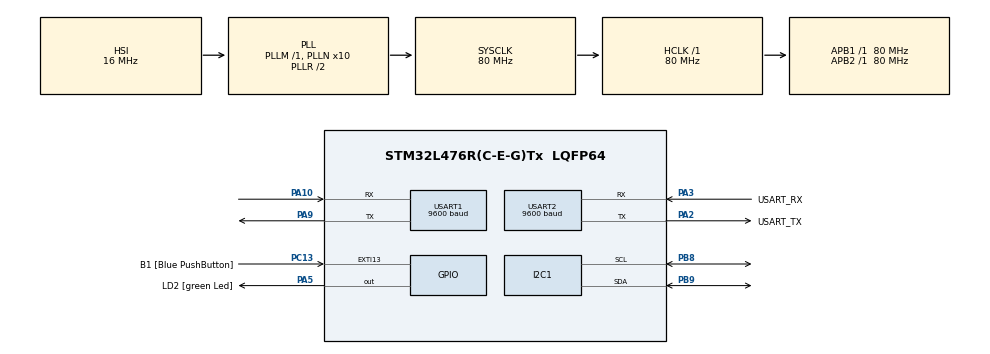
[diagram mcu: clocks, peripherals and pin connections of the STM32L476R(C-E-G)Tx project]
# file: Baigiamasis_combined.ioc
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I2C1.Timing=0x10909CEC
Mcu.Family=STM32L4
Mcu.Name=STM32L476R(C-E-G)Tx
Mcu.Package=LQFP64
NVIC.PriorityGroup=NVIC_PRIORITYGROUP_4
PA10.Mode=Asynchronous
PA10.Signal=USART1_RX
PA13\ (JTMS-SWDIO).GPIO_Label=TMS
PA13\ (JTMS-SWDIO).Mode=Serial_Wire
PA13\ (JTMS-SWDIO).Signal=SYS_JTMS-SWDIO
PA14\ (JTCK-SWCLK).GPIO_Label=TCK
PA14\ (JTCK-SWCLK).Mode=Serial_Wire
PA14\ (JTCK-SWCLK).Signal=SYS_JTCK-SWCLK
PA2.GPIO_Label=USART_TX
PA2.GPIO_Mode=GPIO_MODE_AF_PP
PA2.GPIO_PuPd=GPIO_NOPULL
PA2.GPIO_Speed=GPIO_SPEED_FREQ_VERY_HIGH
PA2.Mode=Asynchronous
PA2.Signal=USART2_TX
PA3.GPIO_Label=USART_RX
PA3.GPIO_Mode=GPIO_MODE_AF_PP
PA3.GPIO_PuPd=GPIO_NOPULL
PA3.GPIO_Speed=GPIO_SPEED_FREQ_VERY_HIGH
PA3.Mode=Asynchronous
PA3.Signal=USART2_RX
PA5.GPIO_Label=LD2 [green Led]
PA5.GPIO_ModeDefaultOutputPP=GPIO_MODE_OUTPUT_PP
PA5.GPIO_PuPd=GPIO_NOPULL
PA5.GPIO_Speed=GPIO_SPEED_FREQ_LOW
PA5.Signal=GPIO_Output
PA9.Mode=Asynchronous
PA9.Signal=USART1_TX
PB3\ (JTDO-TRACESWO).GPIO_Label=SWO
PB3\ (JTDO-TRACESWO).Signal=SYS_JTDO-SWO
PB8.Mode=I2C
PB8.Signal=I2C1_SCL
PB9.Mode=I2C
PB9.Signal=I2C1_SDA
PC13.GPIO_Label=B1 [Blue PushButton]
PC13.GPIO_ModeDefaultEXTI=GPIO_MODE_IT_FALLING
PC13.GPIO_PuPd=GPIO_NOPULL
PC13.Signal=GPXTI13
PC14-OSC32_IN\ (PC14).Mode=LSE-External-Oscillator
PC14-OSC32_IN\ (PC14).Signal=RCC_OSC32_IN
PC15-OSC32_OUT\ (PC15).Mode=LSE-External-Oscillator
PC15-OSC32_OUT\ (PC15).Signal=RCC_OSC32_OUT
PH0-OSC_IN\ (PH0).Signal=RCC_OSC_IN
PH1-OSC_OUT\ (PH1).Signal=RCC_OSC_OUT
ProjectManager.HeapSize=0x200
ProjectManager.StackSize=0x400
ProjectManager.TargetToolchain=MDK-ARM V5.27
RCC.ADCFreq_Value=64000000
RCC.AHBFreq_Value=80000000
RCC.APB1Freq_Value=80000000
RCC.APB1TimFreq_Value=80000000
RCC.APB2Freq_Value=80000000
RCC.APB2TimFreq_Value=80000000
RCC.CortexFreq_Value=80000000
RCC.HCLKFreq_Value=80000000
RCC.HSE_VALUE=8000000
RCC.HSI_VALUE=16000000
RCC.MSI_VALUE=4000000
RCC.PLLN=10
RCC.PLLSourceVirtual=RCC_PLLSOURCE_HSI
RCC.PREFETCH_ENABLE=1
RCC.SYSCLKFreq_VALUE=80000000
RCC.SYSCLKSource=RCC_SYSCLKSOURCE_PLLCLK
RCC.USBFreq_Value=64000000
RCC.VCOOutputFreq_Value=160000000
USART1.BaudRate=9600
USART1.VirtualMode-Asynchronous=VM_ASYNC
USART2.BaudRate=9600
USART2.VirtualMode-Asynchronous=VM_ASYNC
board=NUCLEO-L476RG

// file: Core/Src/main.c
/* USER CODE BEGIN Header */
/**
  ******************************************************************************
  * @file           : main.c
  * @brief          : Main program body
  ******************************************************************************
  * @attention
  *
  * Copyright (c) 2021 STMicroelectronics.
  * All rights reserved.
  *
  * This software is licensed under terms that can be found in the LICENSE file
  * in the root directory of this software component.
  * If no LICENSE file comes with this software, it is provided AS-IS.
  *
  ******************************************************************************
  */
/* USER CODE END Header */
#include "main.h"

/* USER CODE BEGIN Includes */
#include <stdio.h>
#include <string.h>
#include <stdlib.h>
/* USER CODE END Includes */

I2C_HandleTypeDef hi2c1;

UART_HandleTypeDef huart1;
UART_HandleTypeDef huart2;

/* USER CODE BEGIN PV */
uint8_t Rx_data[10];
int warning = 0;
char Reply[150];
char GsmTest[10]="AT\r";
char ActivateTxtMode[20]="AT+CMGF=1\r";
char clearmem[100]="AT+CMGD=1,4\r";
char Readsms[150]= "AT+CMGL=\"ALL\"\r";
char memory[100] = "AT+CPMS=\"SM\",\"SM\",\"SM\"\r";
//char PhoneNumber[30]="AT+CMGS=\"+3706xxxxx\"\r\n";
char PhoneNumber[30]="AT+CMGS=\"+3706xxxxx\"\r";
//char Call[30] = "ATD+ +3706xxxxx;";
char Message[100]="Virsyta temperatura.";
//char Message2[100]="Duomenu perdavimo klaida.";
int CtrlZ=26;
char ch[1];

static const uint8_t TMP102_ADDR = 0x48 << 1; // Use 8-bit address
static const uint8_t REG_TEMP = 0x00;
/* USER CODE END PV */

void SystemClock_Config(void);
static void MX_GPIO_Init(void);
static void MX_I2C1_Init(void);
static void MX_USART1_UART_Init(void);
static void MX_USART2_UART_Init(void);

int main(void)
{
  /* USER CODE BEGIN 1 */
		ch[0]=CtrlZ;
	  HAL_StatusTypeDef ret;
	  uint8_t buf[12];
	char klaida[] = "Virsyta temperatura. Siunciama zinute... || Temperatura: ";
//	char klaida2[] = "Duomenu perdavimo klaida. Siunciama zinute...";
	char klaida3[] = "Zinute issiusta";
	char krauna1[] = "Kraunama programa. Palaukite.\r\n";
	char krauna2[] = "Programa pakrauta.\r\n";
	char stop[] = "Programa sustabdyta\r\n";
	char pagebreak[] = "\r\n";
	  int16_t val;
	  float temp_c;
		char Message2[100];
  /* USER CODE END 1 */

  /* MCU Configuration--------------------------------------------------------*/

  /* Reset of all peripherals, Initializes the Flash interface and the Systick. */
  HAL_Init();

  /* Configure the system clock */
  SystemClock_Config();

  /* Initialize all configured peripherals */
  MX_GPIO_Init();
  MX_I2C1_Init();
  MX_USART1_UART_Init();
  MX_USART2_UART_Init();
  /* USER CODE BEGIN 2 */
	HAL_UART_Transmit(&huart2, (uint8_t *)krauna1, strlen(krauna1), HAL_MAX_DELAY);
	HAL_UART_Transmit(&huart1,(uint8_t *)GsmTest, strlen(GsmTest), HAL_MAX_DELAY);
  HAL_UART_Receive(&huart1,(uint8_t *)Reply, 15, 500);
  HAL_Delay(1000);
	HAL_UART_Transmit(&huart2,(uint8_t *)Reply, strlen(Reply), HAL_MAX_DELAY);
	memset(Reply,0,sizeof(Reply));

	HAL_UART_Transmit(&huart1,(uint8_t *)ActivateTxtMode, strlen(ActivateTxtMode), HAL_MAX_DELAY);
  HAL_UART_Receive(&huart1,(uint8_t *)Reply, 15, 500);
  HAL_Delay(1000);
	HAL_UART_Transmit(&huart2,(uint8_t *)Reply, strlen(Reply), HAL_MAX_DELAY);
	memset(Reply,0,sizeof(Reply));

	HAL_UART_Transmit(&huart1,(uint8_t *)clearmem, strlen(clearmem), HAL_MAX_DELAY);
  HAL_UART_Receive(&huart1,(uint8_t *)Reply, 80, 500);
  HAL_Delay(1000);
	HAL_UART_Transmit(&huart2,(uint8_t *)Reply, strlen(Reply), HAL_MAX_DELAY);
	memset(Reply,0,sizeof(Reply));

	HAL_UART_Transmit(&huart1,(uint8_t *)memory, strlen(memory), HAL_MAX_DELAY);
  HAL_UART_Receive(&huart1,(uint8_t *)Reply, 80, 500);
  HAL_Delay(1000);
	HAL_UART_Transmit(&huart2,(uint8_t *)Reply, strlen(Reply), HAL_MAX_DELAY);
	memset(Reply,0,sizeof(Reply));
	HAL_UART_Transmit(&huart2, (uint8_t *)krauna2, strlen(krauna1), HAL_MAX_DELAY);
	uint16_t pass = 0;

  /* USER CODE END 2 */

  /* Infinite loop */
  /* USER CODE BEGIN WHILE */
  while (1)
  {
		while (pass < 1)
		{
		/*	if (Rx_data[0] == 's' && Rx_data[1] == 't' && Rx_data[2] == 'o' && Rx_data[3] == 'p')
			{
				HAL_UART_Transmit(&huart2, (uint8_t *)stop, strlen(stop), 100);
				memset(Rx_data,0,sizeof(Reply));
			}*/
			if(Reply[102] == 'S' && Reply[103] == 't' && Reply[104] == 'o' && Reply[105] == 'p')
			{
				HAL_UART_Transmit(&huart2, (uint8_t *)stop, strlen(stop), 100);
				memset(Reply,0,sizeof(Reply));

			}
			else
			{
	//		HAL_UART_Receive(&huart2, Rx_data, 5, 2500); // get rx data from terminal
			HAL_UART_Transmit(&huart1,(uint8_t *)Readsms, strlen(Readsms), 100);
			HAL_UART_Receive(&huart1,(uint8_t *)Reply, 150, 1500);
		//	HAL_UART_Transmit(&huart2,(uint8_t *)Reply, strlen(Reply), 500);
			if(Reply[102] == 'S' && Reply[103] == 't' && Reply[104] == 'a' && Reply[105] == 'r' && Reply[106] == 't')
			{
				pass = 1;
				memset(Reply,0,sizeof(Reply));
		//		memset(Rx_data,0,sizeof(Rx_data));
			}
	/*		else if (Rx_data[0] == 's' && Rx_data[1] == 't' && Rx_data[2] == 'a' && Rx_data[3] == 'r' && Rx_data[4] == 't')
			{
				pass = 1;
				memset(Reply,0,sizeof(Reply));
				memset(Rx_data,0,sizeof(Rx_data));
			}*/
			else
			{
				memset(Reply,0,sizeof(Reply));
		//		memset(Rx_data,0,sizeof(Rx_data));
			}
		}
		}
		HAL_UART_Receive(&huart2, Rx_data, 5, 1000);
		if (pass > 0)
	{
		memset(Rx_data,0,sizeof(Rx_data));
			//					HAL_UART_Transmit(&huart1,(uint8_t *)Readsms, strlen(Readsms), 100);
			//			HAL_UART_Receive(&huart1,(uint8_t *)Reply, 150, 1500);
		// Tell TMP102 that we want to read from the temperature register
	      buf[0] = REG_TEMP;
	      ret = HAL_I2C_Master_Transmit(&hi2c1, TMP102_ADDR, buf, 1, 100);
	      if ( ret != HAL_OK )
					{
	        strcpy((char*)buf, "Error Tx\r\n");
						//Rx_data[0] = 's'; Rx_data[1] = 't'; Rx_data[2] = 'o'; Rx_data[3] = 'p';
						pass = 0;
						HAL_UART_Transmit(&huart2, (uint8_t *)stop, strlen(stop), 100);
						//galima issiust zinute su "Tx klaida"
	      }
					else
						{

	        // Read 2 bytes from the temperature register
	        ret = HAL_I2C_Master_Receive(&hi2c1, TMP102_ADDR, buf, 2, 100);
	        if ( ret != HAL_OK ) {
	          strcpy((char*)buf, "Error Rx\r\n");
						//Rx_data[0] = 's'; Rx_data[1] = 't'; Rx_data[2] = 'o'; Rx_data[3] = 'p';
						pass = 0;
						HAL_UART_Transmit(&huart2, (uint8_t *)stop, strlen(stop), 100);
						//galima issiust zinute su "Rx klaida"
	        } else
					{
			//			HAL_UART_Transmit(&huart1,(uint8_t *)Readsms, strlen(Readsms), 100);
			//			HAL_UART_Receive(&huart1,(uint8_t *)Reply, 150, 1500);
						Rx_data[0] = 's'; Rx_data[1] = 't'; Rx_data[2] = 'a'; Rx_data[3] = 'r'; Rx_data[4] = 't';
	          //Combine the bytes
	          val = ((int16_t)buf[0] << 4) | (buf[1] >> 4);

	          // Convert to 2's complement, since temperature can be negative
	          if ( val > 0x7FF )
							{
			//					HAL_UART_Transmit(&huart1,(uint8_t *)Readsms, strlen(Readsms), 100);
			//			HAL_UART_Receive(&huart1,(uint8_t *)Reply, 150, 1500);
	            val |= 0xF000;
	          }

	          // Convert to float temperature value (Celsius)
	          temp_c = val * 0.0625;

	          // Convert temperature to decimal format
	          temp_c *= 100;
	          sprintf((char*)buf,
	                "%u.%u C\r\n",
	                ((unsigned int)temp_c / 100),
	                ((unsigned int)temp_c % 100));
					memcpy(Message2,&buf,sizeof(Message2));
				//		HAL_UART_Transmit(&huart1,(uint8_t *)Readsms, strlen(Readsms), 100);
				//		HAL_UART_Receive(&huart1,(uint8_t *)Reply, 150, 1500);
	        }
	      }

	      // Send out buffer (temperature or error message)
	      if (temp_c > 2450)
	      {
					warning = warning + 1;
					if (warning <= 1)
					{
					HAL_UART_Transmit(&huart2, (uint8_t *)klaida, strlen(klaida), HAL_MAX_DELAY);
	    	  HAL_UART_Transmit(&huart2, buf, strlen((char*)buf), HAL_MAX_DELAY);
			//		HAL_UART_Transmit(&huart1,(uint8_t *)ActivateTxtMode, strlen(ActivateTxtMode), HAL_MAX_DELAY);
			//		HAL_Delay(1000);
					HAL_UART_Transmit(&huart1,(uint8_t *)PhoneNumber, strlen(PhoneNumber), HAL_MAX_DELAY);
					HAL_Delay(1000);
					HAL_UART_Transmit(&huart1,(uint8_t *)Message, strlen(Message), HAL_MAX_DELAY);
					HAL_Delay(1000);
					HAL_UART_Transmit(&huart1,(uint8_t *)ch, strlen(ch), HAL_MAX_DELAY);
					HAL_Delay(1000);
					HAL_UART_Transmit(&huart2, (uint8_t *)klaida3, strlen(klaida3), HAL_MAX_DELAY);
					HAL_UART_Transmit(&huart2, (uint8_t *)pagebreak, strlen(pagebreak), HAL_MAX_DELAY);
					HAL_Delay(1000);
					}
					else
					{
						//Rx_data[0] = 's'; Rx_data[1] = 't'; Rx_data[2] = 'o'; Rx_data[3] = 'p';
						pass = 0;
						warning = 0;
					}
	      }
	      else
	      {
				//	HAL_UART_Transmit(&huart1,(uint8_t *)Readsms, strlen(Readsms), 100);
			//		HAL_UART_Receive(&huart1,(uint8_t *)Reply, 150, 1500);
			//		HAL_UART_Receive(&huart2, Rx_data, 5, 1500);

			//	HAL_UART_Transmit(&huart2,(uint8_t *)Reply, strlen(Reply), 500);
					if(Reply[102] == 'C' && Reply[103] == 'h' && Reply[104] == 'e' && Reply[105] == 'c' && Reply[106] == 'k')
					{

						HAL_UART_Transmit(&huart1,(uint8_t *)PhoneNumber, strlen(PhoneNumber), HAL_MAX_DELAY);
						HAL_Delay(1000);
						HAL_UART_Transmit(&huart1,(uint8_t *)Message2, strlen(Message), HAL_MAX_DELAY);
						HAL_Delay(1000);
						HAL_UART_Transmit(&huart1,(uint8_t *)ch, strlen(ch), HAL_MAX_DELAY);
						HAL_Delay(1000);
						memset(Reply,0,sizeof(Reply));
						HAL_UART_Transmit(&huart2, (uint8_t *)klaida3, strlen(klaida3), HAL_MAX_DELAY);
						HAL_UART_Transmit(&huart2, (uint8_t *)pagebreak, strlen(pagebreak), HAL_MAX_DELAY);
					}
					else if(Reply[102] == 'S' && Reply[103] == 't' && Reply[104] == 'o' && Reply[105] == 'p')
						{
						pass = 0;
						}
					else
					{
						HAL_UART_Transmit(&huart2, buf, strlen((char*)buf), HAL_MAX_DELAY);
						HAL_UART_Transmit(&huart1,(uint8_t *)Readsms, strlen(Readsms), 100);
						HAL_UART_Receive(&huart1,(uint8_t *)Reply, 150, 1500);
					}
			/*		else if (Rx_data[0] == 's' && Rx_data[1] == 't' && Rx_data[2] == 'o' && Rx_data[3] == 'p')
					{
						pass = 0;
					}*/
	      }
		}
    /* USER CODE END WHILE */

  }
}

void SystemClock_Config(void)
{
  RCC_OscInitTypeDef RCC_OscInitStruct = {0};
  RCC_ClkInitTypeDef RCC_ClkInitStruct = {0};

  /** Configure the main internal regulator output voltage
  */
  if (HAL_PWREx_ControlVoltageScaling(PWR_REGULATOR_VOLTAGE_SCALE1) != HAL_OK)
  {
    Error_Handler();
  }
  /** Initializes the RCC Oscillators according to the specified parameters
  * in the RCC_OscInitTypeDef structure.
  */
  RCC_OscInitStruct.OscillatorType = RCC_OSCILLATORTYPE_HSI;
  RCC_OscInitStruct.HSIState = RCC_HSI_ON;
  RCC_OscInitStruct.HSICalibrationValue = RCC_HSICALIBRATION_DEFAULT;
  RCC_OscInitStruct.PLL.PLLState = RCC_PLL_ON;
  RCC_OscInitStruct.PLL.PLLSource = RCC_PLLSOURCE_HSI;
  RCC_OscInitStruct.PLL.PLLM = 1;
  RCC_OscInitStruct.PLL.PLLN = 10;
  RCC_OscInitStruct.PLL.PLLP = RCC_PLLP_DIV7;
  RCC_OscInitStruct.PLL.PLLQ = RCC_PLLQ_DIV2;
  RCC_OscInitStruct.PLL.PLLR = RCC_PLLR_DIV2;
  if (HAL_RCC_OscConfig(&RCC_OscInitStruct) != HAL_OK)
  {
    Error_Handler();
  }
  /** Initializes the CPU, AHB and APB buses clocks
  */
  RCC_ClkInitStruct.ClockType = RCC_CLOCKTYPE_HCLK|RCC_CLOCKTYPE_SYSCLK
                              |RCC_CLOCKTYPE_PCLK1|RCC_CLOCKTYPE_PCLK2;
  RCC_ClkInitStruct.SYSCLKSource = RCC_SYSCLKSOURCE_PLLCLK;
  RCC_ClkInitStruct.AHBCLKDivider = RCC_SYSCLK_DIV1;
  RCC_ClkInitStruct.APB1CLKDivider = RCC_HCLK_DIV1;
  RCC_ClkInitStruct.APB2CLKDivider = RCC_HCLK_DIV1;

  if (HAL_RCC_ClockConfig(&RCC_ClkInitStruct, FLASH_LATENCY_4) != HAL_OK)
  {
    Error_Handler();
  }
}

static void MX_I2C1_Init(void)
{

  hi2c1.Instance = I2C1;
  hi2c1.Init.Timing = 0x10909CEC;
  hi2c1.Init.OwnAddress1 = 0;
  hi2c1.Init.AddressingMode = I2C_ADDRESSINGMODE_7BIT;
  hi2c1.Init.DualAddressMode = I2C_DUALADDRESS_DISABLE;
  hi2c1.Init.OwnAddress2 = 0;
  hi2c1.Init.OwnAddress2Masks = I2C_OA2_NOMASK;
  hi2c1.Init.GeneralCallMode = I2C_GENERALCALL_DISABLE;
  hi2c1.Init.NoStretchMode = I2C_NOSTRETCH_DISABLE;
  if (HAL_I2C_Init(&hi2c1) != HAL_OK)
  {
    Error_Handler();
  }
  /** Configure Analogue filter
  */
  if (HAL_I2CEx_ConfigAnalogFilter(&hi2c1, I2C_ANALOGFILTER_ENABLE) != HAL_OK)
  {
    Error_Handler();
  }
  /** Configure Digital filter
  */
  if (HAL_I2CEx_ConfigDigitalFilter(&hi2c1, 0) != HAL_OK)
  {
    Error_Handler();
  }

}

static void MX_USART1_UART_Init(void)
{

  huart1.Instance = USART1;
  huart1.Init.BaudRate = 9600;
  huart1.Init.WordLength = UART_WORDLENGTH_8B;
  huart1.Init.StopBits = UART_STOPBITS_1;
  huart1.Init.Parity = UART_PARITY_NONE;
  huart1.Init.Mode = UART_MODE_TX_RX;
  huart1.Init.HwFlowCtl = UART_HWCONTROL_NONE;
  huart1.Init.OverSampling = UART_OVERSAMPLING_16;
  huart1.Init.OneBitSampling = UART_ONE_BIT_SAMPLE_DISABLE;
  huart1.AdvancedInit.AdvFeatureInit = UART_ADVFEATURE_NO_INIT;
  if (HAL_UART_Init(&huart1) != HAL_OK)
  {
    Error_Handler();
  }

}

static void MX_USART2_UART_Init(void)
{

  huart2.Instance = USART2;
  huart2.Init.BaudRate = 9600;
  huart2.Init.WordLength = UART_WORDLENGTH_8B;
  huart2.Init.StopBits = UART_STOPBITS_1;
  huart2.Init.Parity = UART_PARITY_NONE;
  huart2.Init.Mode = UART_MODE_TX_RX;
  huart2.Init.HwFlowCtl = UART_HWCONTROL_NONE;
  huart2.Init.OverSampling = UART_OVERSAMPLING_16;
  huart2.Init.OneBitSampling = UART_ONE_BIT_SAMPLE_DISABLE;
  huart2.AdvancedInit.AdvFeatureInit = UART_ADVFEATURE_NO_INIT;
  if (HAL_UART_Init(&huart2) != HAL_OK)
  {
    Error_Handler();
  }

}

static void MX_GPIO_Init(void)
{
  GPIO_InitTypeDef GPIO_InitStruct = {0};

  /* GPIO Ports Clock Enable */
  __HAL_RCC_GPIOC_CLK_ENABLE();
  __HAL_RCC_GPIOH_CLK_ENABLE();
  __HAL_RCC_GPIOA_CLK_ENABLE();
  __HAL_RCC_GPIOB_CLK_ENABLE();

  /*Configure GPIO pin Output Level */
  HAL_GPIO_WritePin(LD2_GPIO_Port, LD2_Pin, GPIO_PIN_RESET);

  /*Configure GPIO pin : B1_Pin */
  GPIO_InitStruct.Pin = B1_Pin;
  GPIO_InitStruct.Mode = GPIO_MODE_IT_FALLING;
  GPIO_InitStruct.Pull = GPIO_NOPULL;
  HAL_GPIO_Init(B1_GPIO_Port, &GPIO_InitStruct);

  /*Configure GPIO pin : LD2_Pin */
  GPIO_InitStruct.Pin = LD2_Pin;
  GPIO_InitStruct.Mode = GPIO_MODE_OUTPUT_PP;
  GPIO_InitStruct.Pull = GPIO_NOPULL;
  GPIO_InitStruct.Speed = GPIO_SPEED_FREQ_LOW;
  HAL_GPIO_Init(LD2_GPIO_Port, &GPIO_InitStruct);

}

void Error_Handler(void)
{
  __disable_irq();
  while (1)
  {
  }
}
